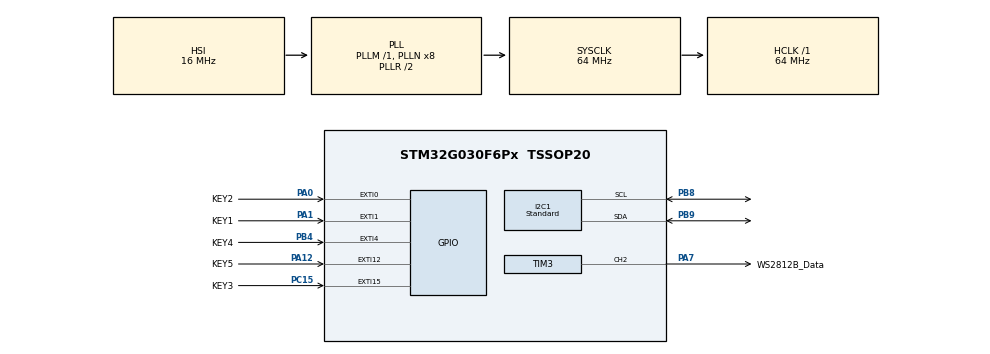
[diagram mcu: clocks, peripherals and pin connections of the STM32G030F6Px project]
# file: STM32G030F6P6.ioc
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Dma.Request0=TIM3_CH2
Dma.TIM3_CH2.0.Direction=DMA_MEMORY_TO_PERIPH
Dma.TIM3_CH2.0.EventEnable=DISABLE
Dma.TIM3_CH2.0.Instance=DMA1_Channel1
Dma.TIM3_CH2.0.MemDataAlignment=DMA_MDATAALIGN_HALFWORD
Dma.TIM3_CH2.0.MemInc=DMA_MINC_ENABLE
Dma.TIM3_CH2.0.Mode=DMA_CIRCULAR
Dma.TIM3_CH2.0.PeriphDataAlignment=DMA_PDATAALIGN_HALFWORD
Dma.TIM3_CH2.0.PeriphInc=DMA_PINC_DISABLE
Dma.TIM3_CH2.0.Polarity=HAL_DMAMUX_REQ_GEN_RISING
Dma.TIM3_CH2.0.Priority=DMA_PRIORITY_LOW
Dma.TIM3_CH2.0.RequestNumber=1
Dma.TIM3_CH2.0.SignalID=NONE
Dma.TIM3_CH2.0.SyncEnable=DISABLE
Dma.TIM3_CH2.0.SyncPolarity=HAL_DMAMUX_SYNC_NO_EVENT
Dma.TIM3_CH2.0.SyncRequestNumber=1
Dma.TIM3_CH2.0.SyncSignalID=NONE
I2C1.AddressingMode=I2C_ADDRESSINGMODE_7BIT
I2C1.DualAddressMode=I2C_DUALADDRESS_DISABLE
I2C1.GeneralCallMode=I2C_GENERALCALL_DISABLE
I2C1.I2C_Speed_Mode=I2C_Standard
I2C1.OwnAddress=0x01
I2C1.Timing=0x10707DBC
Mcu.Family=STM32G0
Mcu.Name=STM32G030F6Px
Mcu.Package=TSSOP20
NVIC.DMA1_Channel1_IRQn=true\:0\:0\:true\:false\:true\:false\:true\:true
NVIC.EXTI0_1_IRQn=true\:0\:0\:false\:false\:true\:true\:true\:true
NVIC.EXTI4_15_IRQn=true\:0\:0\:false\:false\:true\:true\:true\:true
NVIC.I2C1_IRQn=true\:0\:0\:true\:false\:true\:true\:true\:true
PA0.GPIO_Label=KEY2
PA0.GPIO_ModeDefaultEXTI=GPIO_MODE_IT_RISING_FALLING
PA0.GPIO_PuPd=GPIO_PULLUP
PA0.Signal=GPXTI0
PA1.GPIO_Label=KEY1
PA1.GPIO_ModeDefaultEXTI=GPIO_MODE_IT_RISING_FALLING
PA1.GPIO_PuPd=GPIO_PULLUP
PA1.Signal=GPXTI1
PA12\ [PA10].GPIO_Label=KEY5
PA12\ [PA10].GPIO_ModeDefaultEXTI=GPIO_MODE_IT_RISING_FALLING
PA12\ [PA10].GPIO_PuPd=GPIO_PULLUP
PA12\ [PA10].Signal=GPXTI12
PA13.Mode=Serial_Wire
PA13.Signal=SYS_SWDIO
PA14-BOOT0.Mode=Serial_Wire
PA14-BOOT0.Signal=SYS_SWCLK
PA14-BOOT0__PA15.StandardMode=true
PA7.GPIO_Label=WS2812B_Data
PA7.Signal=S_TIM3_CH2
PB0__PB1__PB2__PA8.StandardMode=true
PB3__PB4__PB5__PB6.StandardMode=true
PB4.GPIO_Label=KEY4
PB4.GPIO_ModeDefaultEXTI=GPIO_MODE_IT_RISING_FALLING
PB4.GPIO_PuPd=GPIO_PULLUP
PB4.Signal=GPXTI4
PB7__PB8.StandardMode=true
PB8.Mode=I2C
PB8.Signal=I2C1_SCL
PB9.Mode=I2C
PB9.Signal=I2C1_SDA
PC14-OSC32_IN\ (PC14)__PB9.StandardMode=true
PC15-OSC32_OUT\ (PC15).GPIO_Label=KEY3
PC15-OSC32_OUT\ (PC15).GPIO_ModeDefaultEXTI=GPIO_MODE_IT_RISING_FALLING
PC15-OSC32_OUT\ (PC15).GPIO_PuPd=GPIO_PULLUP
PC15-OSC32_OUT\ (PC15).Signal=GPXTI15
ProjectManager.HeapSize=0x200
ProjectManager.StackSize=0x400
ProjectManager.TargetToolchain=MDK-ARM V5.32
RCC.ADCFreq_Value=64000000
RCC.AHBFreq_Value=64000000
RCC.CortexFreq_Value=64000000
RCC.EXTERNAL_CLOCK_VALUE=12288000
RCC.HCLKFreq_Value=64000000
RCC.HSE_VALUE=8000000
RCC.HSI_VALUE=16000000
RCC.LSE_VALUE=32768
RCC.SYSCLKFreq_VALUE=64000000
RCC.SYSCLKSource=RCC_SYSCLKSOURCE_PLLCLK
RCC.VCOOutputFreq_Value=128000000
SH.S_TIM3_CH2.0=TIM3_CH2,PWM Generation2 CH2
TIM3.Channel-PWM\ Generation2\ CH2=TIM_CHANNEL_2
TIM3.Period=90-1
VP_TIM3_VS_ClockSourceINT.Mode=Internal
board=custom

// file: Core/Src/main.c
/* USER CODE BEGIN Header */
/**
 ******************************************************************************
 * @file           : main.c
 * @brief          : Main program body
 ******************************************************************************
 * @attention
 *
 * Copyright (c) 2023 STMicroelectronics.
 * All rights reserved.
 *
 * This software is licensed under terms that can be found in the LICENSE file
 * in the root directory of this software component.
 * If no LICENSE file comes with this software, it is provided AS-IS.
 *
 ******************************************************************************
 */
/* USER CODE END Header */
#include "main.h"
#include "dma.h"
#include "i2c.h"
#include "tim.h"
#include "gpio.h"

/* USER CODE BEGIN Includes */
#include <string.h>
#include "stm32g0xx_it.h"
#include "WS2812B_PWM_DMA.h"
#include "T-Keyboard-S3-Pro_Drive.h"

/* USER CODE END Includes */

/* USER CODE BEGIN PD */
#define NUM_LEDS 14 // Led总个数
/* USER CODE END PD */

/* USER CODE BEGIN PV */
uint8_t Temp_Buf[100];

struct T_Keyboard_S3_Pro My_Device;
/* USER CODE END PV */

void SystemClock_Config(void);

/* USER CODE BEGIN 0 */

void Flash_OB_Handle(void)
{
    FLASH_OBProgramInitTypeDef optionsbytesstruct;
    uint8_t UPDATE = 0;

    HAL_FLASHEx_OBGetConfig(&optionsbytesstruct);
    uint32_t userconfig = optionsbytesstruct.USERConfig;

    if ((userconfig & FLASH_OPTR_nBOOT_SEL_Msk) != OB_BOOT0_FROM_PIN)
    {
        userconfig &= ~FLASH_OPTR_nBOOT_SEL_Msk;
        userconfig |= OB_BOOT0_FROM_PIN;
        UPDATE = 1;
    }

    if (UPDATE)
    {
        optionsbytesstruct.USERConfig = userconfig;
        HAL_FLASH_Unlock();
        HAL_FLASH_OB_Unlock();
        HAL_FLASHEx_OBProgram(&optionsbytesstruct);
        HAL_FLASH_OB_Launch();
        HAL_FLASH_OB_Lock();
        HAL_FLASH_Lock();
    }
}

uint8_t KEY_WS2812B_Loop(void)
{
    if (My_Device.KEY_Trigger_Flag == 1)
    {
        My_Device.KEY_Trigger_Flag = 0;
        WS2812B_ClearAll();

        if ((My_Device.KEY_Trigger_Number & B00010000) != 0)
        {
            WS2812B_SetHSV(360, 0, 10, 0);
            WS2812B_SetHSV(360, 0, 10, 1);
        }
        if ((My_Device.KEY_Trigger_Number & B00001000) != 0)
        {
            WS2812B_SetHSV(360, 0, 10, 3);
            WS2812B_SetHSV(360, 0, 10, 4);
        }
        if ((My_Device.KEY_Trigger_Number & B00000100) != 0)
        {
            WS2812B_SetHSV(360, 0, 10, 6);
            WS2812B_SetHSV(360, 0, 10, 7);
        }
        if ((My_Device.KEY_Trigger_Number & B00000010) != 0)
        {
            WS2812B_SetHSV(360, 0, 10, 9);
            WS2812B_SetHSV(360, 0, 10, 10);
        }
        if ((My_Device.KEY_Trigger_Number & B00000001) != 0)
        {
            WS2812B_SetHSV(360, 0, 10, 12);
            WS2812B_SetHSV(360, 0, 10, 13);
        }

        WS2812B_Show();
        return 1;
    }
    return 0;
}
/* USER CODE END 0 */

int main(void)
{

  /* MCU Configuration--------------------------------------------------------*/

  /* Reset of all peripherals, Initializes the Flash interface and the Systick. */
  HAL_Init();

  /* Configure the system clock */
  SystemClock_Config();

  /* Initialize all configured peripherals */
  MX_GPIO_Init();
  MX_DMA_Init();
  MX_TIM3_Init();
  MX_I2C1_Init();
  /* USER CODE BEGIN 2 */
    Flash_OB_Handle();

    HAL_I2C_EnableListen_IT(&hi2c1); // 使能I2C1的侦听中断

    WS2812B_ClearAll();
    WS2812B_Show();
  /* USER CODE END 2 */

  /* Infinite loop */
  /* USER CODE BEGIN WHILE */
    while (1)
    {
        // WS2812B_Test1();
        // WS2812B_Test2(Red, Green, Blue, 60);
        // WS2812B_Test3();
        // WS2812B_Test4();
        // WS2812B_Test5();
        // WS2812B_Test6();
        // WS2812B_Test7(15);
        // WS2812B_Test8();
        // WS2812B_Test9();

        KEY_WS2812B_Loop();

        if (IIC_Slave_Receive_Struct.Number != 0)
        {
            // switch (IIC_Slave_Receive_Struct.Command[0])
            // {
            // case 'L':
            //     switch (IIC_Slave_Receive_Struct.Data[0])
            //     {
            //     case B00010000:
            //         WS2812B_SetHSV(360, 0, 10, 1);
            //         WS2812B_Show();
            //         HAL_Delay(100);

            //         WS2812B_ClearAll();
            //         WS2812B_Show();
            //         break;
            //     case B00001000:
            //         WS2812B_SetHSV(360, 0, 10, 4);
            //         WS2812B_Show();
            //         HAL_Delay(100);

            //         WS2812B_ClearAll();
            //         WS2812B_Show();
            //         break;
            //     case B00000100:
            //         WS2812B_SetHSV(360, 0, 10, 7);
            //         WS2812B_Show();
            //         HAL_Delay(100);

            //         WS2812B_ClearAll();
            //         WS2812B_Show();
            //         break;
            //     case B00000010:
            //         WS2812B_SetHSV(360, 0, 10, 10);
            //         WS2812B_Show();
            //         HAL_Delay(100);

            //         WS2812B_ClearAll();
            //         WS2812B_Show();
            //         break;
            //     case B00000001:
            //         WS2812B_SetHSV(360, 0, 10, 13);
            //         WS2812B_Show();
            //         HAL_Delay(100);

            //         WS2812B_ClearAll();
            //         WS2812B_Show();
            //         break;

            //     default:
            //         break;
            //     }

            //     break;

            // default:
            //     break;
            // }

            IIC_Slave_Receive_Struct.Number--;
            memmove(&IIC_Slave_Receive_Struct.Command[0],
                    &IIC_Slave_Receive_Struct.Command[1], IIC_Slave_Receive_Struct.Number);
            memmove(&IIC_Slave_Receive_Struct.Data[0],
                    &IIC_Slave_Receive_Struct.Data[1], IIC_Slave_Receive_Struct.Number);
        }

        // HAL_Delay(100);
    /* USER CODE END WHILE */

    }
}

void SystemClock_Config(void)
{
  RCC_OscInitTypeDef RCC_OscInitStruct = {0};
  RCC_ClkInitTypeDef RCC_ClkInitStruct = {0};

  /** Configure the main internal regulator output voltage
  */
  HAL_PWREx_ControlVoltageScaling(PWR_REGULATOR_VOLTAGE_SCALE1);

  /** Initializes the RCC Oscillators according to the specified parameters
  * in the RCC_OscInitTypeDef structure.
  */
  RCC_OscInitStruct.OscillatorType = RCC_OSCILLATORTYPE_HSI;
  RCC_OscInitStruct.HSIState = RCC_HSI_ON;
  RCC_OscInitStruct.HSIDiv = RCC_HSI_DIV1;
  RCC_OscInitStruct.HSICalibrationValue = RCC_HSICALIBRATION_DEFAULT;
  RCC_OscInitStruct.PLL.PLLState = RCC_PLL_ON;
  RCC_OscInitStruct.PLL.PLLSource = RCC_PLLSOURCE_HSI;
  RCC_OscInitStruct.PLL.PLLM = RCC_PLLM_DIV1;
  RCC_OscInitStruct.PLL.PLLN = 8;
  RCC_OscInitStruct.PLL.PLLP = RCC_PLLP_DIV2;
  RCC_OscInitStruct.PLL.PLLR = RCC_PLLR_DIV2;
  if (HAL_RCC_OscConfig(&RCC_OscInitStruct) != HAL_OK)
  {
    Error_Handler();
  }

  /** Initializes the CPU, AHB and APB buses clocks
  */
  RCC_ClkInitStruct.ClockType = RCC_CLOCKTYPE_HCLK|RCC_CLOCKTYPE_SYSCLK
                              |RCC_CLOCKTYPE_PCLK1;
  RCC_ClkInitStruct.SYSCLKSource = RCC_SYSCLKSOURCE_PLLCLK;
  RCC_ClkInitStruct.AHBCLKDivider = RCC_SYSCLK_DIV1;
  RCC_ClkInitStruct.APB1CLKDivider = RCC_HCLK_DIV1;

  if (HAL_RCC_ClockConfig(&RCC_ClkInitStruct, FLASH_LATENCY_2) != HAL_OK)
  {
    Error_Handler();
  }
}

void Error_Handler(void)
{
    __disable_irq();
    while (1)
    {
    }
}
